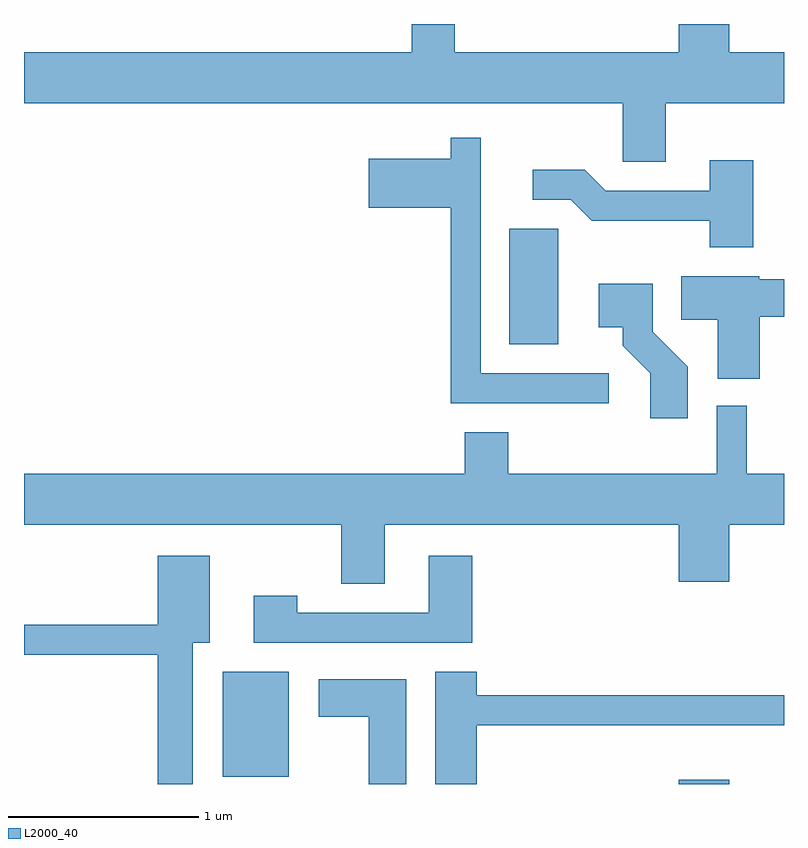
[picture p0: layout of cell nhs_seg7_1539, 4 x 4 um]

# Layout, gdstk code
import gdstk
lib = gdstk.Library(unit=1e-6, precision=1e-09)
def R(c, l, rs):  # rectangles x0, y0, x1, y1
    for r in rs: c.add(gdstk.rectangle(r[:2], r[2:], *l))
def P(c, l, *ps):  # polygons
    for p in ps: c.add(gdstk.Polygon(p, *l))
L2000_40 = (2000, 40)

nhs_seg7_1539 = lib.new_cell('nhs_seg7_1539')
R(nhs_seg7_1539, L2000_40, [(235.056,1746.252,235.324,1746.274), (232.656,1746.291,233.004,1746.844), (234.166,1748.566,234.424,1749.174)])
P(nhs_seg7_1539, L2000_40, [(234.989,1749.836),(235.611,1749.836),(235.611,1750.104),(235.324,1750.104),(235.324,1750.252),(235.056,1750.252),(235.056,1750.104),(233.879,1750.104),(233.879,1750.252),(233.651,1750.252),(233.651,1750.104),(231.611,1750.104),(231.611,1749.836),(234.761,1749.836),(234.761,1749.526),(234.989,1749.526)],
  [(234.688,1748.414),(234.014,1748.414),(234.014,1749.653),(233.856,1749.653),(233.856,1749.544),(233.426,1749.544),(233.426,1749.286),(233.856,1749.286),(233.856,1748.256),(234.688,1748.256)],
  [(235.449,1749.534),(235.221,1749.534),(235.221,1749.374),(234.672,1749.374),(234.562,1749.484),(234.288,1749.484),(234.288,1749.326),(234.489,1749.326),(234.599,1749.216),(235.221,1749.216),(235.221,1749.076),(235.449,1749.076)],
  [(235.484,1748.711),(235.611,1748.711),(235.611,1748.909),(235.48,1748.909),(235.48,1748.924),(235.071,1748.924),(235.071,1748.696),(235.261,1748.696),(235.261,1748.386),(235.484,1748.386)],
  [(235.104,1748.447),(234.919,1748.632),(234.919,1748.884),(234.636,1748.884),(234.636,1748.656),(234.761,1748.656),(234.761,1748.559),(234.906,1748.414),(234.906,1748.176),(235.104,1748.176)],
  [(233.509,1747.616),(235.056,1747.616),(235.056,1747.316),(235.324,1747.316),(235.324,1747.616),(235.611,1747.616),(235.611,1747.884),(235.414,1747.884),(235.414,1748.243),(235.256,1748.243),(235.256,1747.884),(234.159,1747.884),(234.159,1748.104),(233.931,1748.104),(233.931,1747.884),(231.611,1747.884),(231.611,1747.616),(233.281,1747.616),(233.281,1747.306),(233.509,1747.306)],
  [(233.969,1747.454),(233.741,1747.454),(233.741,1747.154),(233.049,1747.154),(233.049,1747.244),(232.821,1747.244),(232.821,1746.996),(233.969,1746.996)],
  [(232.499,1746.996),(232.589,1746.996),(232.589,1747.454),(232.316,1747.454),(232.316,1747.089),(231.611,1747.089),(231.611,1746.931),(232.316,1746.931),(232.316,1746.252),(232.499,1746.252)],
  [(233.994,1746.561),(235.611,1746.561),(235.611,1746.719),(233.994,1746.719),(233.994,1746.844),(233.776,1746.844),(233.776,1746.252),(233.994,1746.252)],
  [(233.624,1746.804),(233.161,1746.804),(233.161,1746.606),(233.426,1746.606),(233.426,1746.252),(233.624,1746.252)])

lib.write_gds('nhs_seg7_1539.gds')
